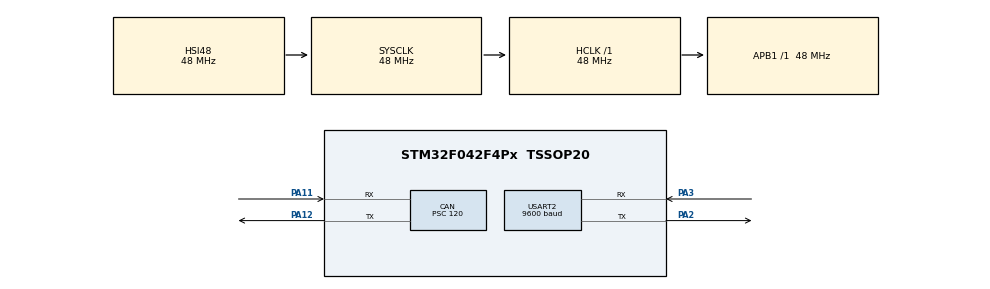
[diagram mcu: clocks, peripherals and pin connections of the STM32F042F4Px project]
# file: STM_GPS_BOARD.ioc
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CAN.BS1=CAN_BS1_2TQ
CAN.CalculateBaudRate=100000
CAN.CalculateTimeBit=10000
CAN.CalculateTimeQuantum=2500.0
CAN.Prescaler=120
Mcu.Family=STM32F0
Mcu.Name=STM32F042F4Px
Mcu.Package=TSSOP20
NVIC.CEC_CAN_IRQn=true\:0\:0\:false\:false\:true\:true\:true\:true
NVIC.TIM14_IRQn=true\:0\:0\:false\:false\:true\:true\:true\:true
PA11.Mode=CAN_Activate
PA11.Signal=CAN_RX
PA12.Mode=CAN_Activate
PA12.Signal=CAN_TX
PA13.Mode=Serial_Wire
PA13.Signal=SYS_SWDIO
PA14.Mode=Serial_Wire
PA14.Signal=SYS_SWCLK
PA2.Mode=Asynchronous
PA2.Signal=USART2_TX
PA3.Mode=Asynchronous
PA3.Signal=USART2_RX
ProjectManager.HeapSize=0x200
ProjectManager.StackSize=0x400
ProjectManager.TargetToolchain=STM32CubeIDE
RCC.AHBFreq_Value=48000000
RCC.APB1Freq_Value=48000000
RCC.APB1TimFreq_Value=48000000
RCC.HCLKFreq_Value=48000000
RCC.SYSCLKFreq_VALUE=48000000
RCC.SYSCLKSource=RCC_SYSCLKSOURCE_HSI48
TIM14.Period=3999
TIM14.Prescaler=47999
USART2.BaudRate=9600
USART2.VirtualMode-Asynchronous=VM_ASYNC
VP_SYS_VS_PINREMAP.Mode=PINREMAP
VP_TIM14_VS_ClockSourceINT.Mode=Enable_Timer
board=custom

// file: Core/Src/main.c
/* USER CODE BEGIN Header */
// Author: Paul Scalise, adapted from Matthew Boeding's work
// This program will send the GPS coordinates every 4 seconds via CAN.
// Intended for the GPS board designed for ECEN 435 at the University of Nebraska-Lincoln
/**
  ******************************************************************************
  * @file           : main.c
  * @brief          : Main program body
  ******************************************************************************
  * @attention
  * Copyright (c) 2025 STMicroelectronics.
  * All rights reserved.
  * This software is licensed under terms that can be found in the LICENSE file
  * in the root directory of this software component.
  * If no LICENSE file comes with this software, it is provided AS-IS.
  ******************************************************************************
  */
/* USER CODE END Header */
#include "main.h"

/* USER CODE BEGIN Includes */
#include <string.h>
#include <stdbool.h>
/* USER CODE END Includes */

CAN_HandleTypeDef hcan;

TIM_HandleTypeDef htim14;

UART_HandleTypeDef huart2;

/* USER CODE BEGIN PV */
uint8_t uart_rx_buf[128] = {0};
volatile bool measure_flag = false;
uint8_t frameBuffer[100];
uint8_t lat[8];
uint8_t lon[8];
uint8_t fixedlat[8] = {"LA00.00N"};
uint8_t fixedlon[8] = {"LO000.0E"};

uint8_t gpsOn[8]       = {0xB5,0x62,0x06,0x57,0x00,0x00,0x5D,0x1D};
uint8_t pwrControl[16] = {0xB5,0x62,0x06,0x86,0x08,0x00,0x00,0x03,0x00,0x00,0x00,0x00,0x00,0x00,0x97,0x6F};
uint8_t pwrControl2[8] = {0xB5,0x62,0x06,0x86,0x00,0x00,0x8C,0xAA};
uint8_t coldRestart[12]= {0xB5,0x62,0x06,0x04,0x04,0x00,0xFF,0xFF,0x02,0x00,0x0E,0x61};
/* USER CODE END PV */

void SystemClock_Config(void);
static void MX_GPIO_Init(void);
static void MX_CAN_Init(void);
static void MX_USART2_UART_Init(void);
static void MX_TIM14_Init(void);
/* USER CODE BEGIN PFP */
static void gpsCommand(const uint8_t *d, uint8_t len);
static uint8_t uartRecv(void);
static void uartWrite(uint8_t b);
static uint8_t getFrame(void);
static void processFrame(uint8_t size);
static void CAN_Send8(const uint8_t *payload8, uint16_t std_id);
/* USER CODE END PFP */

/* USER CODE BEGIN 0 */
void HAL_TIM_PeriodElapsedCallback(TIM_HandleTypeDef *htim)
{
  if (htim->Instance == TIM14) {
    measure_flag = true;
  }
}
/* USER CODE END 0 */

int main(void)
{

  /* MCU Configuration--------------------------------------------------------*/

  /* Reset of all peripherals, Initializes the Flash interface and the Systick. */
  HAL_Init();

  /* Configure the system clock */
  SystemClock_Config();

  /* Initialize all configured peripherals */
  MX_GPIO_Init();
  MX_CAN_Init();
  MX_USART2_UART_Init();
  MX_TIM14_Init();
  /* USER CODE BEGIN 2 */

  HAL_CAN_Start(&hcan);

  // Configure an accept-all CAN filter into FIFO0
  CAN_FilterTypeDef f = {0};
  f.FilterBank = 0;
  f.FilterMode = CAN_FILTERMODE_IDMASK;
  f.FilterScale = CAN_FILTERSCALE_32BIT;
  f.FilterIdHigh = 0x0000;
  f.FilterIdLow  = 0x0000;
  f.FilterMaskIdHigh = 0x0000;
  f.FilterMaskIdLow  = 0x0000;
  f.FilterFIFOAssignment = CAN_FILTER_FIFO0;
  f.FilterActivation = ENABLE;
  HAL_CAN_ConfigFilter(&hcan, &f);

  // 4s interrupt to get new coordinates
  HAL_TIM_Base_Start_IT(&htim14);

  // Initialize GPS (MAX-M8C-0)
  gpsCommand(gpsOn,       sizeof(gpsOn));
  gpsCommand(pwrControl,  sizeof(pwrControl));
  gpsCommand(pwrControl2, sizeof(pwrControl2));
  gpsCommand(coldRestart, sizeof(coldRestart));
  /* USER CODE END 2 */

  /* Infinite loop */
  /* USER CODE BEGIN WHILE */
  while (1) {
    if (measure_flag) {
      measure_flag = false;

      uint8_t n = getFrame();
      if (n > 0) {
        processFrame(n);
        // Send two 8-byte frames with the lat/lon strings
        CAN_Send8(lat, 0x101);
        CAN_Send8(lon, 0x101);
      }
    }
    /* USER CODE END WHILE */

  }
}

void SystemClock_Config(void)
{
  RCC_OscInitTypeDef RCC_OscInitStruct = {0};
  RCC_ClkInitTypeDef RCC_ClkInitStruct = {0};

  /** Initializes the RCC Oscillators according to the specified parameters
  * in the RCC_OscInitTypeDef structure.
  */
  RCC_OscInitStruct.OscillatorType = RCC_OSCILLATORTYPE_HSI48;
  RCC_OscInitStruct.HSI48State = RCC_HSI48_ON;
  RCC_OscInitStruct.PLL.PLLState = RCC_PLL_NONE;
  if (HAL_RCC_OscConfig(&RCC_OscInitStruct) != HAL_OK)
  {
    Error_Handler();
  }

  /** Initializes the CPU, AHB and APB buses clocks
  */
  RCC_ClkInitStruct.ClockType = RCC_CLOCKTYPE_HCLK|RCC_CLOCKTYPE_SYSCLK
                              |RCC_CLOCKTYPE_PCLK1;
  RCC_ClkInitStruct.SYSCLKSource = RCC_SYSCLKSOURCE_HSI48;
  RCC_ClkInitStruct.AHBCLKDivider = RCC_SYSCLK_DIV1;
  RCC_ClkInitStruct.APB1CLKDivider = RCC_HCLK_DIV1;

  if (HAL_RCC_ClockConfig(&RCC_ClkInitStruct, FLASH_LATENCY_1) != HAL_OK)
  {
    Error_Handler();
  }
}

static void MX_CAN_Init(void)
{

  hcan.Instance = CAN;
  hcan.Init.Prescaler = 120;
  hcan.Init.Mode = CAN_MODE_NORMAL;
  hcan.Init.SyncJumpWidth = CAN_SJW_1TQ;
  hcan.Init.TimeSeg1 = CAN_BS1_2TQ;
  hcan.Init.TimeSeg2 = CAN_BS2_1TQ;
  hcan.Init.TimeTriggeredMode = DISABLE;
  hcan.Init.AutoBusOff = DISABLE;
  hcan.Init.AutoWakeUp = DISABLE;
  hcan.Init.AutoRetransmission = DISABLE;
  hcan.Init.ReceiveFifoLocked = DISABLE;
  hcan.Init.TransmitFifoPriority = DISABLE;
  if (HAL_CAN_Init(&hcan) != HAL_OK)
  {
    Error_Handler();
  }

}

static void MX_TIM14_Init(void)
{

  htim14.Instance = TIM14;
  htim14.Init.Prescaler = 47999;
  htim14.Init.CounterMode = TIM_COUNTERMODE_UP;
  htim14.Init.Period = 3999;
  htim14.Init.ClockDivision = TIM_CLOCKDIVISION_DIV1;
  htim14.Init.AutoReloadPreload = TIM_AUTORELOAD_PRELOAD_DISABLE;
  if (HAL_TIM_Base_Init(&htim14) != HAL_OK)
  {
    Error_Handler();
  }

}

static void MX_USART2_UART_Init(void)
{

  huart2.Instance = USART2;
  huart2.Init.BaudRate = 9600;
  huart2.Init.WordLength = UART_WORDLENGTH_8B;
  huart2.Init.StopBits = UART_STOPBITS_1;
  huart2.Init.Parity = UART_PARITY_NONE;
  huart2.Init.Mode = UART_MODE_TX_RX;
  huart2.Init.HwFlowCtl = UART_HWCONTROL_NONE;
  huart2.Init.OverSampling = UART_OVERSAMPLING_16;
  huart2.Init.OneBitSampling = UART_ONE_BIT_SAMPLE_DISABLE;
  huart2.AdvancedInit.AdvFeatureInit = UART_ADVFEATURE_NO_INIT;
  if (HAL_UART_Init(&huart2) != HAL_OK)
  {
    Error_Handler();
  }

}

static void MX_GPIO_Init(void)
{

  /* GPIO Ports Clock Enable */
  __HAL_RCC_GPIOA_CLK_ENABLE();

}

/* USER CODE BEGIN 4 */
static void gpsCommand(const uint8_t *d, uint8_t len)
{
  HAL_UART_Transmit(&huart2, (uint8_t*)d, len, HAL_MAX_DELAY);
}

static void uartWrite(uint8_t b)
{
  HAL_UART_Transmit(&huart2, &b, 1, HAL_MAX_DELAY);
}

__inline static uint8_t uartRecv(void)
{
  uint8_t b;
  HAL_UART_Receive(&huart2, &b, 1, 100);
  return b;
}

static uint8_t getFrame(void)
{
  uint8_t frameSize = 0;
  bool receive = true, gotHeader = false;
  uint8_t hdr[5];

  while (receive) {
    while (!gotHeader) {
      uint8_t c = uartRecv();
      if (c == '$') {
        for (int i = 0; i < 5; i++){
        	hdr[i] = uartRecv();
        }
        gotHeader = (hdr[0]=='G' && hdr[1]=='N' && hdr[2]=='G' && hdr[3]=='L' && hdr[4]=='L');
      }
    }
    uint8_t c = uartRecv();
    if (c == '$') {
      receive = false;
    } else {
      if (frameSize < sizeof(frameBuffer)) frameBuffer[frameSize++] = c;
    }
  }
  return frameSize;
}

static void processFrame(uint8_t size)
{
  uint8_t commas[7] = {0};
  int i = 0, j = 0;

  while (i < 7 && j < size) {
      if (frameBuffer[j] == ',') {
          commas[i++] = j;
      }
      j++;
  }

  if (i < 6 || frameBuffer[commas[5] + 1] == 'V' || (commas[1] - commas[0] < 2)) {
    memcpy(lat, fixedlat, sizeof(lat));
    memcpy(lon, fixedlon, sizeof(lon));
    return;
  }

  // LAT: "LA00.00N" from ddmm.mmmm,N/S
  lat[0]='L'; lat[1]='A';
  lat[2] = frameBuffer[commas[0] + 1];
  lat[3] = frameBuffer[commas[0] + 2];
  lat[4] = '.';
  lat[5] = frameBuffer[commas[0] + 3];
  lat[6] = frameBuffer[commas[0] + 4];
  lat[7] = frameBuffer[commas[1] + 1];

  // LON: "LO000.0E" from dddmm.mmmm,E/W
  lon[0]='L'; lon[1]='O';
  lon[2] = frameBuffer[commas[2] + 1];
  lon[3] = frameBuffer[commas[2] + 2];
  lon[4] = frameBuffer[commas[2] + 3];
  lon[5] = '.';
  lon[6] = frameBuffer[commas[2] + 4];
  lon[7] = frameBuffer[commas[3] + 1];
}

static void CAN_Send8(const uint8_t *payload8, uint16_t std_id)
{
  CAN_TxHeaderTypeDef hdr;
  hdr.StdId = std_id;
  hdr.ExtId = 0;
  hdr.IDE   = CAN_ID_STD;
  hdr.RTR   = CAN_RTR_DATA;
  hdr.DLC   = 8;
  hdr.TransmitGlobalTime = DISABLE;

  uint32_t mb;
  HAL_CAN_AddTxMessage(&hcan, &hdr, (uint8_t*)payload8, &mb);
}
/* USER CODE END 4 */

void Error_Handler(void)
{
  __disable_irq();
  while (1) { }
}
#ifdef USE_FULL_ASSERT
/**
  * @brief  Reports the name of the source file and the source line number
  *         where the assert_param error has occurred.
  * @param  file: pointer to the source file name
  * @param  line: assert_param error line source number
  * @retval None
  */
void assert_failed(uint8_t *file, uint32_t line)
{
  /* USER CODE BEGIN 6 */
  (void)file; (void)line;
  /* USER CODE END 6 */
}
#endif /* USE_FULL_ASSERT */
